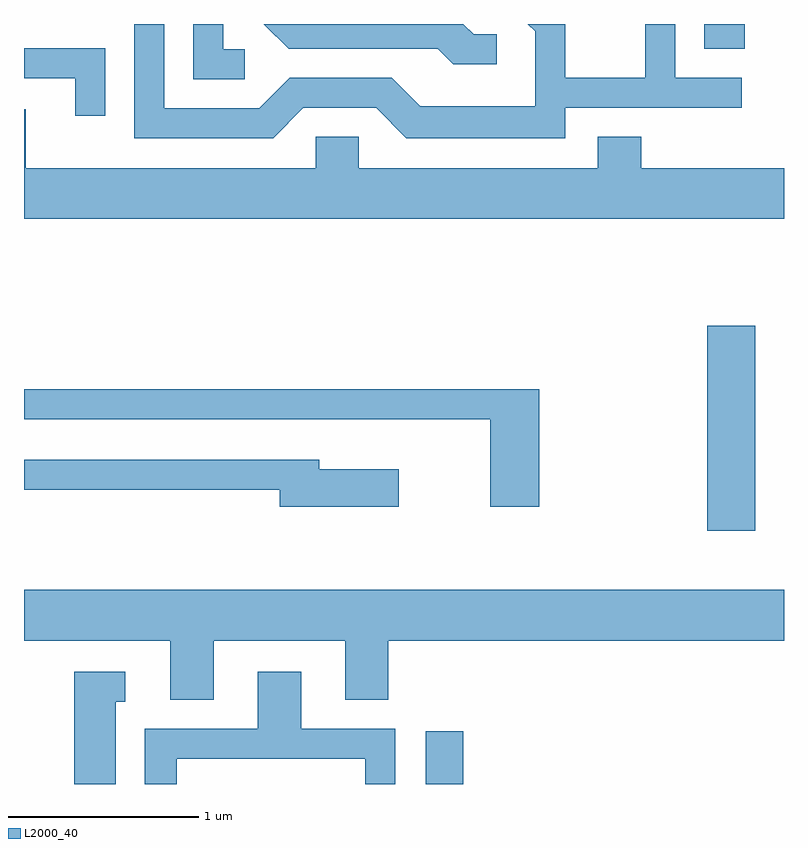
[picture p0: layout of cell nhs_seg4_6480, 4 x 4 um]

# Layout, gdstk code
import gdstk
lib = gdstk.Library(unit=1e-6, precision=1e-09)
def R(c, l, rs):  # rectangles x0, y0, x1, y1
    for r in rs: c.add(gdstk.rectangle(r[:2], r[2:], *l))
def P(c, l, *ps):  # polygons
    for p in ps: c.add(gdstk.Polygon(p, *l))
L2000_40 = (2000, 40)

nhs_seg4_6480 = lib.new_cell('nhs_seg4_6480')
R(nhs_seg4_6480, L2000_40, [(377.726,1293.982,377.924,1294.259), (379.206,1295.316,379.459,1296.394), (379.191,1297.851,379.404,1297.982)])
P(nhs_seg4_6480, L2000_40, [(377.082,1297.541),(377.464,1297.541),(377.624,1297.381),(378.459,1297.381),(378.459,1297.541),(379.388,1297.541),(379.388,1297.699),(379.039,1297.699),(379.039,1297.982),(378.881,1297.982),(378.881,1297.699),(378.459,1297.699),(378.459,1297.982),(378.263,1297.982),(378.301,1297.944),(378.301,1297.549),(377.697,1297.549),(377.547,1297.699),(377.009,1297.699),(376.849,1297.539),(376.349,1297.539),(376.349,1297.982),(376.191,1297.982),(376.191,1297.381),(376.922,1297.381)],
  [(378.098,1297.929),(377.977,1297.929),(377.924,1297.982),(376.873,1297.982),(377.004,1297.851),(377.789,1297.851),(377.869,1297.771),(378.098,1297.771)],
  [(376.773,1297.849),(376.659,1297.849),(376.659,1297.982),(376.501,1297.982),(376.501,1297.691),(376.773,1297.691)],
  [(376.039,1297.854),(375.611,1297.854),(375.611,1297.696),(375.881,1297.696),(375.881,1297.498),(376.039,1297.498)],
  [(379.611,1297.224),(378.859,1297.224),(378.859,1297.389),(378.631,1297.389),(378.631,1297.224),(377.374,1297.224),(377.374,1297.389),(377.146,1297.389),(377.146,1297.224),(375.619,1297.224),(375.619,1297.534),(375.611,1297.534),(375.611,1296.956),(379.611,1296.956)],
  [(378.324,1296.059),(375.611,1296.059),(375.611,1295.901),(378.066,1295.901),(378.066,1295.441),(378.324,1295.441)],
  [(377.584,1295.639),(377.164,1295.639),(377.164,1295.689),(375.611,1295.689),(375.611,1295.531),(376.956,1295.531),(376.956,1295.441),(377.584,1295.441)],
  [(376.609,1294.736),(377.301,1294.736),(377.301,1294.426),(377.529,1294.426),(377.529,1294.736),(379.611,1294.736),(379.611,1295.004),(375.611,1295.004),(375.611,1294.736),(376.381,1294.736),(376.381,1294.426),(376.609,1294.426)],
  [(376.094,1294.416),(376.143,1294.416),(376.143,1294.574),(375.876,1294.574),(375.876,1293.982),(376.094,1293.982)],
  [(376.414,1294.116),(377.406,1294.116),(377.406,1293.982),(377.564,1293.982),(377.564,1294.274),(377.069,1294.274),(377.069,1294.574),(376.841,1294.574),(376.841,1294.274),(376.246,1294.274),(376.246,1293.982),(376.414,1293.982)])

lib.write_gds('nhs_seg4_6480.gds')
